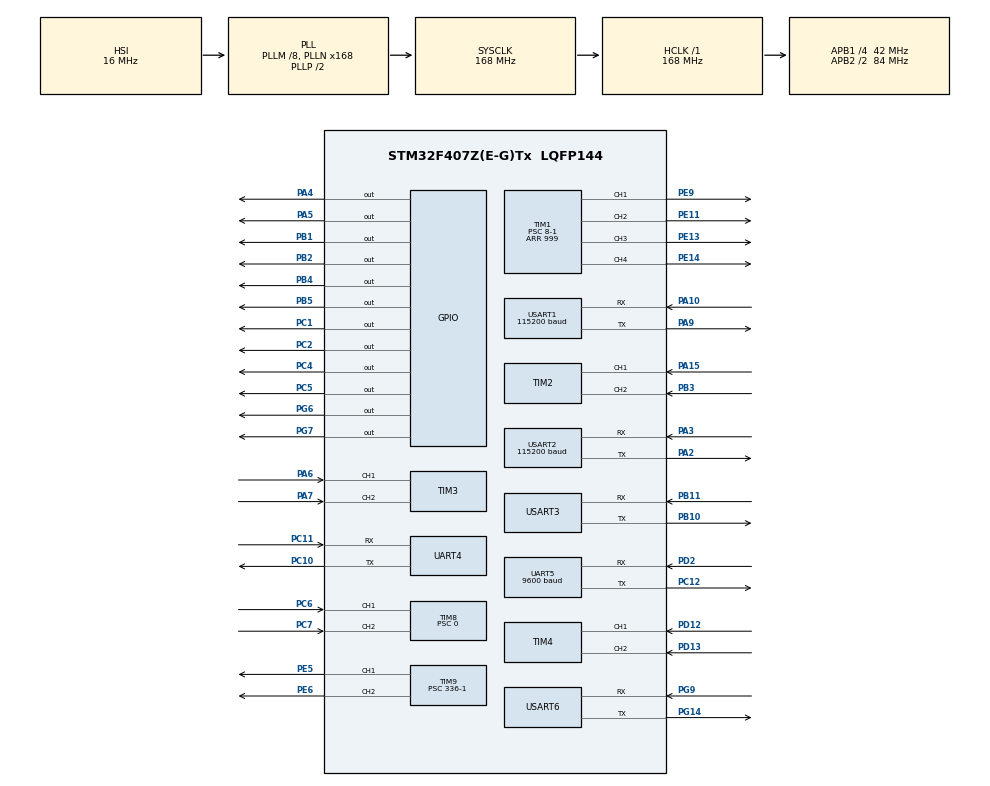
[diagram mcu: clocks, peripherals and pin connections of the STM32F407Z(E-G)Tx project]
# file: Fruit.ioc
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Dma.Request0=USART2_RX
Dma.USART2_RX.0.Direction=DMA_PERIPH_TO_MEMORY
Dma.USART2_RX.0.FIFOMode=DMA_FIFOMODE_DISABLE
Dma.USART2_RX.0.Instance=DMA1_Stream5
Dma.USART2_RX.0.MemDataAlignment=DMA_MDATAALIGN_BYTE
Dma.USART2_RX.0.MemInc=DMA_MINC_ENABLE
Dma.USART2_RX.0.Mode=DMA_CIRCULAR
Dma.USART2_RX.0.PeriphDataAlignment=DMA_PDATAALIGN_BYTE
Dma.USART2_RX.0.PeriphInc=DMA_PINC_DISABLE
Dma.USART2_RX.0.Priority=DMA_PRIORITY_LOW
Mcu.Family=STM32F4
Mcu.Name=STM32F407Z(E-G)Tx
Mcu.Package=LQFP144
NVIC.DMA1_Stream5_IRQn=true\:0\:0\:false\:false\:true\:false\:true\:true
NVIC.PriorityGroup=NVIC_PRIORITYGROUP_4
NVIC.TIM6_DAC_IRQn=true\:0\:0\:false\:false\:true\:true\:true\:true
NVIC.TIM7_IRQn=true\:0\:0\:true\:false\:true\:true\:true\:true
NVIC.USART2_IRQn=true\:0\:0\:false\:false\:true\:true\:true\:true
NVIC.USART6_IRQn=true\:0\:0\:false\:false\:true\:true\:true\:true
PA10.Mode=Asynchronous
PA10.Signal=USART1_RX
PA13.Mode=Serial_Wire
PA13.Signal=SYS_JTMS-SWDIO
PA14.Mode=Serial_Wire
PA14.Signal=SYS_JTCK-SWCLK
PA15.Signal=S_TIM2_CH1_ETR
PA2.Mode=Asynchronous
PA2.Signal=USART2_TX
PA3.Mode=Asynchronous
PA3.Signal=USART2_RX
PA4.GPIO_PuPd=GPIO_PULLDOWN
PA4.Signal=GPIO_Output
PA5.GPIO_PuPd=GPIO_PULLDOWN
PA5.Signal=GPIO_Output
PA6.Signal=S_TIM3_CH1
PA7.Signal=S_TIM3_CH2
PA9.Mode=Asynchronous
PA9.Signal=USART1_TX
PB1.GPIO_PuPd=GPIO_PULLDOWN
PB1.Signal=GPIO_Output
PB10.Mode=Asynchronous
PB10.Signal=USART3_TX
PB11.Mode=Asynchronous
PB11.Signal=USART3_RX
PB2.GPIO_PuPd=GPIO_PULLDOWN
PB2.Signal=GPIO_Output
PB3.Signal=S_TIM2_CH2
PB4.GPIO_PuPd=GPIO_PULLDOWN
PB4.Signal=GPIO_Output
PB5.GPIO_PuPd=GPIO_PULLDOWN
PB5.Signal=GPIO_Output
PC1.GPIO_PuPd=GPIO_PULLDOWN
PC1.Signal=GPIO_Output
PC10.Mode=Asynchronous
PC10.Signal=UART4_TX
PC11.Mode=Asynchronous
PC11.Signal=UART4_RX
PC12.Mode=Asynchronous
PC12.Signal=UART5_TX
PC2.GPIO_PuPd=GPIO_PULLDOWN
PC2.Signal=GPIO_Output
PC4.GPIO_PuPd=GPIO_PULLDOWN
PC4.Signal=GPIO_Output
PC5.GPIO_PuPd=GPIO_PULLDOWN
PC5.Signal=GPIO_Output
PC6.Signal=S_TIM8_CH1
PC7.Signal=S_TIM8_CH2
PD12.Signal=S_TIM4_CH1
PD13.Signal=S_TIM4_CH2
PD2.Mode=Asynchronous
PD2.Signal=UART5_RX
PE11.Signal=S_TIM1_CH2
PE13.Signal=S_TIM1_CH3
PE14.Signal=S_TIM1_CH4
PE5.Signal=S_TIM9_CH1
PE6.Signal=S_TIM9_CH2
PE9.Signal=S_TIM1_CH1
PG14.Mode=Asynchronous
PG14.Signal=USART6_TX
PG6.GPIO_PuPd=GPIO_PULLDOWN
PG6.Signal=GPIO_Output
PG7.GPIO_PuPd=GPIO_PULLDOWN
PG7.Signal=GPIO_Output
PG9.Mode=Asynchronous
PG9.Signal=USART6_RX
PH0-OSC_IN.Mode=HSE-External-Oscillator
PH0-OSC_IN.Signal=RCC_OSC_IN
PH1-OSC_OUT.Mode=HSE-External-Oscillator
PH1-OSC_OUT.Signal=RCC_OSC_OUT
ProjectManager.HeapSize=0x200
ProjectManager.StackSize=0x400
ProjectManager.TargetToolchain=STM32CubeIDE
RCC.48MHZClocksFreq_Value=84000000
RCC.AHBFreq_Value=168000000
RCC.APB1CLKDivider=RCC_HCLK_DIV4
RCC.APB1Freq_Value=42000000
RCC.APB1TimFreq_Value=84000000
RCC.APB2CLKDivider=RCC_HCLK_DIV2
RCC.APB2Freq_Value=84000000
RCC.APB2TimFreq_Value=168000000
RCC.CortexFreq_Value=168000000
RCC.HCLKFreq_Value=168000000
RCC.HSE_VALUE=25000000
RCC.HSI_VALUE=16000000
RCC.LSE_VALUE=32768
RCC.PLLM=8
RCC.PLLN=168
RCC.SYSCLKFreq_VALUE=168000000
RCC.SYSCLKSource=RCC_SYSCLKSOURCE_PLLCLK
RCC.VCOOutputFreq_Value=336000000
SH.S_TIM1_CH1.0=TIM1_CH1,PWM Generation1 CH1
SH.S_TIM1_CH2.0=TIM1_CH2,PWM Generation2 CH2
SH.S_TIM1_CH3.0=TIM1_CH3,PWM Generation3 CH3
SH.S_TIM1_CH4.0=TIM1_CH4,PWM Generation4 CH4
SH.S_TIM2_CH1_ETR.0=TIM2_CH1,Encoder_Interface
SH.S_TIM2_CH2.0=TIM2_CH2,Encoder_Interface
SH.S_TIM3_CH1.0=TIM3_CH1,Encoder_Interface
SH.S_TIM3_CH2.0=TIM3_CH2,Encoder_Interface
SH.S_TIM4_CH1.0=TIM4_CH1,Encoder_Interface
SH.S_TIM4_CH2.0=TIM4_CH2,Encoder_Interface
SH.S_TIM8_CH1.0=TIM8_CH1,Encoder_Interface
SH.S_TIM8_CH2.0=TIM8_CH2,Encoder_Interface
SH.S_TIM9_CH1.0=TIM9_CH1,PWM Generation1 CH1
SH.S_TIM9_CH2.0=TIM9_CH2,PWM Generation2 CH2
TIM1.Channel-PWM\ Generation1\ CH1=TIM_CHANNEL_1
TIM1.Channel-PWM\ Generation2\ CH2=TIM_CHANNEL_2
TIM1.Channel-PWM\ Generation3\ CH3=TIM_CHANNEL_3
TIM1.Channel-PWM\ Generation4\ CH4=TIM_CHANNEL_4
TIM1.Period=999
TIM1.Prescaler=8-1
TIM2.EncoderMode=TIM_ENCODERMODE_TI12
TIM3.EncoderMode=TIM_ENCODERMODE_TI12
TIM3.IC1Filter=0
TIM4.EncoderMode=TIM_ENCODERMODE_TI12
TIM6.Period=65535
TIM6.Prescaler=2100-1
TIM7.Period=1000-1
TIM7.Prescaler=84-1
TIM8.EncoderMode=TIM_ENCODERMODE_TI12
TIM8.Prescaler=0
TIM9.Channel-PWM\ Generation1\ CH1=TIM_CHANNEL_1
TIM9.Channel-PWM\ Generation2\ CH2=TIM_CHANNEL_2
TIM9.Period=9999
TIM9.Prescaler=336-1
UART4.VirtualMode=Asynchronous
UART5.BaudRate=9600
UART5.VirtualMode=Asynchronous
USART1.BaudRate=115200
USART1.VirtualMode=VM_ASYNC
USART2.BaudRate=115200
USART2.VirtualMode=VM_ASYNC
USART3.VirtualMode=VM_ASYNC
USART6.VirtualMode=VM_ASYNC
VP_TIM1_VS_ClockSourceINT.Mode=Internal
VP_TIM6_VS_ClockSourceINT.Mode=Enable_Timer
VP_TIM7_VS_ClockSourceINT.Mode=Enable_Timer
VP_TIM9_VS_ClockSourceINT.Mode=Internal
board=custom

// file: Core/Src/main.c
/* USER CODE BEGIN Header */
/**
  ******************************************************************************
  * @file           : main.c
  * @brief          : Main program body
  ******************************************************************************
  * @attention
  *
  * Copyright (c) 2024 STMicroelectronics.
  * All rights reserved.
  *
  * This software is licensed under terms that can be found in the LICENSE file
  * in the root directory of this software component.
  * If no LICENSE file comes with this software, it is provided AS-IS.
  *
  ******************************************************************************
  */
/* USER CODE END Header */
#include "main.h"
#include "dma.h"
#include "tim.h"
#include "usart.h"
#include "gpio.h"

/* USER CODE BEGIN Includes */
#include "stdio.h"
#include "string.h"
#include "RoboMain.h"
#include "string.h" //使用strlen需要

/* USER CODE END Includes */

void SystemClock_Config(void);

/* USER CODE BEGIN 0 */

#ifdef __cplusplus
extern "C" {
#endif
/* USER CODE END 0 */

int main(void)
{

  /* MCU Configuration--------------------------------------------------------*/

  /* Reset of all peripherals, Initializes the Flash interface and the Systick. */
  HAL_Init();

  /* Configure the system clock */
  SystemClock_Config();

  /* Initialize all configured peripherals */
  MX_GPIO_Init();
  MX_DMA_Init();
  MX_TIM1_Init();
  MX_TIM3_Init();
  MX_TIM2_Init();
  MX_TIM4_Init();
  MX_TIM8_Init();
  MX_TIM7_Init();
  MX_UART5_Init();
  MX_USART1_UART_Init();
  MX_USART2_UART_Init();
  MX_TIM9_Init();
  MX_UART4_Init();
  MX_USART6_UART_Init();
  MX_USART3_UART_Init();
  MX_TIM6_Init();
  /* USER CODE BEGIN 2 */
  //Init

    HAL_Delay(5000); //延迟5秒是为了稳定惯导的度数???

    __HAL_UART_DISABLE_IT(&huart2, UART_IT_RXNE); //关闭接收完成事件中断

    HAL_TIM_PWM_Start(&htim1,TIM_CHANNEL_1);
    HAL_TIM_PWM_Start(&htim1,TIM_CHANNEL_2);
    HAL_TIM_PWM_Start(&htim1,TIM_CHANNEL_3);
    HAL_TIM_PWM_Start(&htim1,TIM_CHANNEL_4);//4个电机
    HAL_TIM_PWM_Start(&htim9,TIM_CHANNEL_1);
    HAL_TIM_PWM_Start(&htim9,TIM_CHANNEL_2);//2个数字舵机
    //PWM TIM1 ||1 PE9||2 PE11||3 PE13||4 PE14||

    HAL_TIM_Encoder_Start(&htim2,TIM_CHANNEL_1|TIM_CHANNEL_2);//PA15 PB3//PA0 PA1为复位按键不用
    HAL_TIM_Encoder_Start(&htim3,TIM_CHANNEL_1|TIM_CHANNEL_2);//PA6 PA7
    HAL_TIM_Encoder_Start(&htim4,TIM_CHANNEL_1|TIM_CHANNEL_2);//PD12 PD13
    HAL_TIM_Encoder_Start(&htim8,TIM_CHANNEL_1|TIM_CHANNEL_2);//PC6 PC7

    HAL_TIM_Base_Start_IT(&htim7);  //每隔0.5ms计算pid

    RobotInit();              //初始化PID
    RobotInitServo();         //初始化PWM舵机
    HAL_Delay(500);    //初始化时间
    RobotBeginVoice(0, (uint8_t *)"[v12][m0][t5]榴莲味招租队准备开始比赛");
    HAL_Delay(4500);//语音播报时间

//    RoboAllMove();
//    RobotMoveSpeed(50);
//      RobotSpinNinety(false);
//    RobotArmMiddle();
//    RobotGrabRightUp();
//    RobotArmMiddle();
//    RobotGrabLeftUp();
//    RobotMoveForward(50, 40);//前轮到出发线8cm
//    HAL_Delay(1000);
//          RobotSpinNinety(false);
//    RobotMoveForward(50, 40);//前轮到出发线8cm
//    HAL_Delay(1000);
//    RobotMoveForward(50, 40);//前轮到出发线8cm
//    HAL_Delay(1000);

///////////////////////////////////////////开始开始开始////////////////////////////////////////////////////////////////////////

///////////////////////////////AAAAAAAAAAAAAAA区////////////////////////////////////////////
    RobotMoveForward(40, 48);//前轮到出发线8cm
    RobotArmMiddle();
    RobotGrabRightGround();
    RobotArmMiddle();
    RobotGrabLeftUp();
    RobotArmMiddle();

    RobotMoveForward(40, 100);
    RobotArmMiddle();
    RobotGrabRightUp();
    RobotArmMiddle();
    RobotGrabLeftGround();
    RobotArmMiddle();

    RobotMoveForward(40, 100);
    RobotArmMiddle();
    RobotGrabRightGround();
    RobotArmMiddle();
    RobotGrabLeftUp();
    RobotArmMiddleBehind();

    RobotMoveForward(40, 58);  //58=40+18
    RobotSpinNinety(false);
    //更新角度
    ///////////////////////////////////BBBBBBBBBBBBBBBBBBBBBBBBBBB区区/////////////////////////////////////////////////

    RobotMoveForward(40, 99);///////////////重点调
    RobotSpinNinety(false);

    RobotMoveForward(40, 22);  //22=40-18
    RobotArmMiddle();
    RobotGrabRightGround();
    RobotArmMiddle();
    RobotGrabLeftUp();
    RobotArmMiddle();

    RobotMoveForward(40, 100);
    RobotArmMiddle();
    RobotGrabRightUp();
    RobotArmMiddle();
    RobotGrabLeftGround();
    RobotArmMiddle();

    RobotMoveForward(40, 100);
    RobotArmMiddle();
    RobotGrabRightGround();
    RobotArmMiddle();
    RobotGrabLeftUp();
    RobotArmMiddleBehind();

    RobotMoveForward(40, 58);
    RobotSpinNinety(true);
    /////////////////////////////////CCCCCCCCCCCCCCCCCCCCCCCCC区区////////////////////////////////////////////////////////

    RobotMoveForward(40, 125.5); //B区到C区         ///////////////重点调
    RobotSpinNinety(true);

    RobotMoveForward(40, 44);  //C区起点到C区蔬菜处
    RobotArmMiddle();
    RobotCGrabLeft();
    RobotArmMiddle();
    RobotCGrabRight();
    RobotArmMiddle();

    RobotMoveForward(40, 40);
    RobotCGrabLeft();
    RobotArmMiddle();
    RobotCGrabRight();
    RobotArmMiddle();

    RobotMoveForward(40, 40);
    RobotCGrabLeft();
    RobotArmMiddle();
    RobotCGrabRight();
    RobotArmMiddle();

    RobotMoveForward(40, 40);
    RobotCGrabLeft();
    RobotArmMiddle();
    RobotCGrabRight();
    RobotArmMiddle();

    RobotMoveForward(40, 40);
    RobotCGrabLeft();
    RobotArmMiddle();
    RobotCGrabRight();
    RobotArmMiddle();
    RobotArmMiddleBehind();

    RobotMoveForward(40, 82);  //C一道最后一个南瓜到十字的距离
    RobotSpinNinety(false);
    //更新角度

    RobotMoveForward(40, 105.5);//C一道到C二道之间的距离////////////////////////////重点调
    RobotSpinNinety(false);

    RobotMoveForward(40, 45);  //C二道第一个南瓜到十字的距离
    RobotCGrabLeft();
    RobotArmMiddle();
    RobotCGrabRight();
    RobotArmMiddle();

    RobotMoveForward(40, 40);
    RobotCGrabLeft();
    RobotArmMiddle();
    RobotCGrabRight();
    RobotArmMiddle();

    RobotMoveForward(40, 40);
    RobotCGrabLeft();
    RobotArmMiddle();
    RobotCGrabRight();
    RobotArmMiddle();

    RobotMoveForward(40, 40);
    RobotCGrabLeft();
    RobotArmMiddle();
    RobotCGrabRight();
    RobotArmMiddle();

    RobotMoveForward(40, 40);
    RobotCGrabLeft();
    RobotArmMiddle();
    RobotCGrabRight();
    RobotArmMiddle();
//////////////////////////////////////////////结束结束结束//////////////////////////////////////////////////////////////

  /* USER CODE END 2 */

  /* Infinite loop */
  while (1)
  {

    /* USER CODE BEGIN 3 */
//      VofaTransmitInc();

  }
  /* USER CODE END 3 */
}

void SystemClock_Config(void)
{
  RCC_OscInitTypeDef RCC_OscInitStruct = {0};
  RCC_ClkInitTypeDef RCC_ClkInitStruct = {0};

  /** Configure the main internal regulator output voltage
  */
  __HAL_RCC_PWR_CLK_ENABLE();
  __HAL_PWR_VOLTAGESCALING_CONFIG(PWR_REGULATOR_VOLTAGE_SCALE1);

  /** Initializes the RCC Oscillators according to the specified parameters
  * in the RCC_OscInitTypeDef structure.
  */
  RCC_OscInitStruct.OscillatorType = RCC_OSCILLATORTYPE_HSI;
  RCC_OscInitStruct.HSIState = RCC_HSI_ON;
  RCC_OscInitStruct.HSICalibrationValue = RCC_HSICALIBRATION_DEFAULT;
  RCC_OscInitStruct.PLL.PLLState = RCC_PLL_ON;
  RCC_OscInitStruct.PLL.PLLSource = RCC_PLLSOURCE_HSI;
  RCC_OscInitStruct.PLL.PLLM = 8;
  RCC_OscInitStruct.PLL.PLLN = 168;
  RCC_OscInitStruct.PLL.PLLP = RCC_PLLP_DIV2;
  RCC_OscInitStruct.PLL.PLLQ = 4;
  if (HAL_RCC_OscConfig(&RCC_OscInitStruct) != HAL_OK)
  {
    Error_Handler();
  }

  /** Initializes the CPU, AHB and APB buses clocks
  */
  RCC_ClkInitStruct.ClockType = RCC_CLOCKTYPE_HCLK|RCC_CLOCKTYPE_SYSCLK
                              |RCC_CLOCKTYPE_PCLK1|RCC_CLOCKTYPE_PCLK2;
  RCC_ClkInitStruct.SYSCLKSource = RCC_SYSCLKSOURCE_PLLCLK;
  RCC_ClkInitStruct.AHBCLKDivider = RCC_SYSCLK_DIV1;
  RCC_ClkInitStruct.APB1CLKDivider = RCC_HCLK_DIV4;
  RCC_ClkInitStruct.APB2CLKDivider = RCC_HCLK_DIV2;

  if (HAL_RCC_ClockConfig(&RCC_ClkInitStruct, FLASH_LATENCY_5) != HAL_OK)
  {
    Error_Handler();
  }
}

/* USER CODE BEGIN 4 */
void HAL_TIM_PeriodElapsedCallback(TIM_HandleTypeDef *htim) {
    /* USER CODE BEGIN Callback 0 */

    /* USER CODE END Callback 0 */
    if (htim->Instance == TIM7) {
        RoboTick();
        //RoboTest();
    }

    if(htim->Instance == TIM6)
    {
        __HAL_TIM_SET_COMPARE(&htim1, TIM_CHANNEL_3, 0);
        __HAL_TIM_SET_COMPARE(&htim1, TIM_CHANNEL_1, 0);
        __HAL_TIM_SET_COMPARE(&htim1, TIM_CHANNEL_2, 0);
        __HAL_TIM_SET_COMPARE(&htim1, TIM_CHANNEL_4, 0);
    }
}
/* USER CODE END 4 */

void Error_Handler(void)
{
        __disable_irq();
        while (1) {
        }
}
